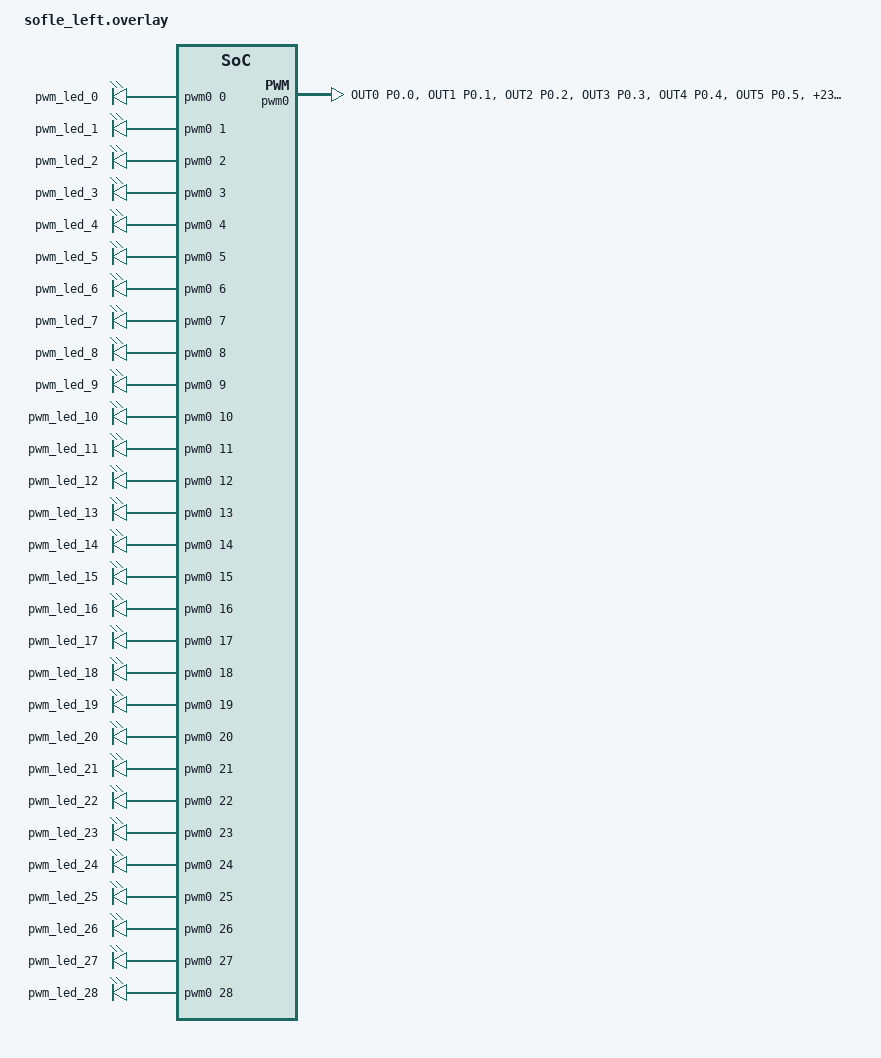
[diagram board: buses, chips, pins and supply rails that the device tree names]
&pinctrl {
    // Other pinctrl definitions for other hardware
    pwm0_default: pwm0_default {
        group1 {
            psels =  <NRF_PSEL(PWM_OUT0, 0, 0)>,
                    <NRF_PSEL(PWM_OUT1, 0, 1)>,
                    <NRF_PSEL(PWM_OUT2, 0, 2)>,
                    <NRF_PSEL(PWM_OUT3, 0, 3)>,
                    <NRF_PSEL(PWM_OUT4, 0, 4)>,
                    <NRF_PSEL(PWM_OUT5, 0, 5)>,
                    <NRF_PSEL(PWM_OUT6, 0, 6)>,
                    <NRF_PSEL(PWM_OUT7, 0, 7)>,
                    <NRF_PSEL(PWM_OUT8, 0, 8)>,
                    <NRF_PSEL(PWM_OUT9, 0, 9)>,
                    <NRF_PSEL(PWM_OUT10, 0, 10)>,
                    <NRF_PSEL(PWM_OUT11, 0, 11)>,
                    <NRF_PSEL(PWM_OUT12, 0, 12)>,
                    <NRF_PSEL(PWM_OUT13, 0, 13)>,
                    <NRF_PSEL(PWM_OUT14, 0, 14)>,
                    <NRF_PSEL(PWM_OUT15, 0, 15)>,
                    <NRF_PSEL(PWM_OUT16, 0, 16)>,
                    <NRF_PSEL(PWM_OUT17, 0, 17)>,
                    <NRF_PSEL(PWM_OUT18, 0, 18)>,
                    <NRF_PSEL(PWM_OUT19, 0, 19)>,
                    <NRF_PSEL(PWM_OUT20, 0, 20)>,
                    <NRF_PSEL(PWM_OUT21, 0, 21)>,
                    <NRF_PSEL(PWM_OUT22, 0, 22)>,
                    <NRF_PSEL(PWM_OUT23, 0, 23)>,
                    <NRF_PSEL(PWM_OUT24, 0, 24)>,
                    <NRF_PSEL(PWM_OUT25, 0, 25)>,
                    <NRF_PSEL(PWM_OUT26, 0, 26)>,
                    <NRF_PSEL(PWM_OUT27, 0, 27)>,
                    <NRF_PSEL(PWM_OUT28, 0, 28)>;
        };
    };
    pwm0_sleep: pwm0_sleep {
        group1 {
            psels = <NRF_PSEL(PWM_OUT0, 0, 0)>,
                    <NRF_PSEL(PWM_OUT1, 0, 1)>,
                    <NRF_PSEL(PWM_OUT2, 0, 2)>,
                    <NRF_PSEL(PWM_OUT3, 0, 3)>,
                    <NRF_PSEL(PWM_OUT4, 0, 4)>,
                    <NRF_PSEL(PWM_OUT5, 0, 5)>,
                    <NRF_PSEL(PWM_OUT6, 0, 6)>,
                    <NRF_PSEL(PWM_OUT7, 0, 7)>,
                    <NRF_PSEL(PWM_OUT8, 0, 8)>,
                    <NRF_PSEL(PWM_OUT9, 0, 9)>,
                    <NRF_PSEL(PWM_OUT10, 0, 10)>,
                    <NRF_PSEL(PWM_OUT11, 0, 11)>,
                    <NRF_PSEL(PWM_OUT12, 0, 12)>,
                    <NRF_PSEL(PWM_OUT13, 0, 13)>,
                    <NRF_PSEL(PWM_OUT14, 0, 14)>,
                    <NRF_PSEL(PWM_OUT15, 0, 15)>,
                    <NRF_PSEL(PWM_OUT16, 0, 16)>,
                    <NRF_PSEL(PWM_OUT17, 0, 17)>,
                    <NRF_PSEL(PWM_OUT18, 0, 18)>,
                    <NRF_PSEL(PWM_OUT19, 0, 19)>,
                    <NRF_PSEL(PWM_OUT20, 0, 20)>,
                    <NRF_PSEL(PWM_OUT21, 0, 21)>,
                    <NRF_PSEL(PWM_OUT22, 0, 22)>,
                    <NRF_PSEL(PWM_OUT23, 0, 23)>,
                    <NRF_PSEL(PWM_OUT24, 0, 24)>,
                    <NRF_PSEL(PWM_OUT25, 0, 25)>,
                    <NRF_PSEL(PWM_OUT26, 0, 26)>,
                    <NRF_PSEL(PWM_OUT27, 0, 27)>,
                    <NRF_PSEL(PWM_OUT28, 0, 28)>;
            low-power-enable;
        };
    };
};
&pwm0 {
    status = "okay";
    pinctrl-0 = <&pwm0_default>;
    pinctrl-1 = <&pwm0_sleep>;
    pinctrl-names = "default", "sleep";
};

/ {
    backlight: pwmleds {
        compatible = "pwm-leds";
        pwm_led_0: pwm_led_0 {
        pwms = <&pwm0 0 PWM_MSEC(10) PWM_POLARITY_NORMAL>;
    };
    pwm_led_1: pwm_led_1 {
        pwms = <&pwm0 1 PWM_MSEC(10) PWM_POLARITY_NORMAL>;
    };
    pwm_led_2: pwm_led_2 {
        pwms = <&pwm0 2 PWM_MSEC(10) PWM_POLARITY_NORMAL>;
    };
    pwm_led_3: pwm_led_3 {
        pwms = <&pwm0 3 PWM_MSEC(10) PWM_POLARITY_NORMAL>;
    };
    pwm_led_4: pwm_led_4 {
        pwms = <&pwm0 4 PWM_MSEC(10) PWM_POLARITY_NORMAL>;
    };
    pwm_led_5: pwm_led_5 {
        pwms = <&pwm0 5 PWM_MSEC(10) PWM_POLARITY_NORMAL>;
    };
    pwm_led_6: pwm_led_6 {
        pwms = <&pwm0 6 PWM_MSEC(10) PWM_POLARITY_NORMAL>;
    };
    pwm_led_7: pwm_led_7 {
        pwms = <&pwm0 7 PWM_MSEC(10) PWM_POLARITY_NORMAL>;
    };
    pwm_led_8: pwm_led_8 {
        pwms = <&pwm0 8 PWM_MSEC(10) PWM_POLARITY_NORMAL>;
    };
    pwm_led_9: pwm_led_9 {
        pwms = <&pwm0 9 PWM_MSEC(10) PWM_POLARITY_NORMAL>;
    };
    pwm_led_10: pwm_led_10 {
        pwms = <&pwm0 10 PWM_MSEC(10) PWM_POLARITY_NORMAL>;
    };
    pwm_led_11: pwm_led_11 {
        pwms = <&pwm0 11 PWM_MSEC(10) PWM_POLARITY_NORMAL>;
    };
    pwm_led_12: pwm_led_12 {
        pwms = <&pwm0 12 PWM_MSEC(10) PWM_POLARITY_NORMAL>;
    };
    pwm_led_13: pwm_led_13 {
        pwms = <&pwm0 13 PWM_MSEC(10) PWM_POLARITY_NORMAL>;
    };
    pwm_led_14: pwm_led_14 {
        pwms = <&pwm0 14 PWM_MSEC(10) PWM_POLARITY_NORMAL>;
    };
    pwm_led_15: pwm_led_15 {
        pwms = <&pwm0 15 PWM_MSEC(10) PWM_POLARITY_NORMAL>;
    };
    pwm_led_16: pwm_led_16 {
        pwms = <&pwm0 16 PWM_MSEC(10) PWM_POLARITY_NORMAL>;
    };
    pwm_led_17: pwm_led_17 {
        pwms = <&pwm0 17 PWM_MSEC(10) PWM_POLARITY_NORMAL>;
    };
    pwm_led_18: pwm_led_18 {
        pwms = <&pwm0 18 PWM_MSEC(10) PWM_POLARITY_NORMAL>;
    };
    pwm_led_19: pwm_led_19 {
        pwms = <&pwm0 19 PWM_MSEC(10) PWM_POLARITY_NORMAL>;
    };
    pwm_led_20: pwm_led_20 {
        pwms = <&pwm0 20 PWM_MSEC(10) PWM_POLARITY_NORMAL>;
    };
    pwm_led_21: pwm_led_21 {
        pwms = <&pwm0 21 PWM_MSEC(10) PWM_POLARITY_NORMAL>;
    };
    pwm_led_22: pwm_led_22 {
        pwms = <&pwm0 22 PWM_MSEC(10) PWM_POLARITY_NORMAL>;
    };
    pwm_led_23: pwm_led_23 {
        pwms = <&pwm0 23 PWM_MSEC(10) PWM_POLARITY_NORMAL>;
    };
    pwm_led_24: pwm_led_24 {
        pwms = <&pwm0 24 PWM_MSEC(10) PWM_POLARITY_NORMAL>;
    };
    pwm_led_25: pwm_led_25 {
        pwms = <&pwm0 25 PWM_MSEC(10) PWM_POLARITY_NORMAL>;
    };
    pwm_led_26: pwm_led_26 {
        pwms = <&pwm0 26 PWM_MSEC(10) PWM_POLARITY_NORMAL>;
    };
    pwm_led_27: pwm_led_27 {
        pwms = <&pwm0 27 PWM_MSEC(10) PWM_POLARITY_NORMAL>;
    };
    pwm_led_28: pwm_led_28 {
        pwms = <&pwm0 28 PWM_MSEC(10) PWM_POLARITY_NORMAL>;
        };
    };

    chosen {
        zmk,backlight = &backlight;
    };
};
